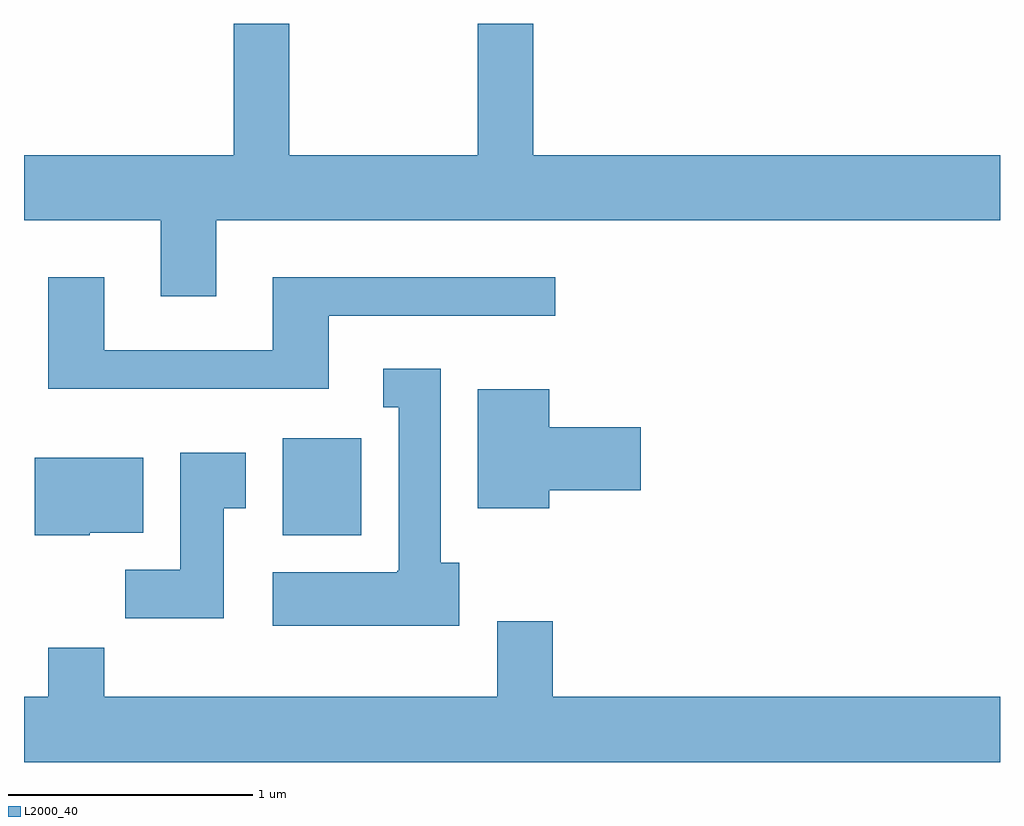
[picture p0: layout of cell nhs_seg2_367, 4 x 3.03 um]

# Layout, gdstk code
import gdstk
lib = gdstk.Library(unit=1e-6, precision=1e-09)
def R(c, l, rs):  # rectangles x0, y0, x1, y1
    for r in rs: c.add(gdstk.rectangle(r[:2], r[2:], *l))
def P(c, l, *ps):  # polygons
    for p in ps: c.add(gdstk.Polygon(p, *l))
L2000_40 = (2000, 40)

nhs_seg2_367 = lib.new_cell('nhs_seg2_367')
R(nhs_seg2_367, L2000_40, [(196.671,1033.706,196.994,1034.104)])
P(nhs_seg2_367, L2000_40, [(196.399,1034.996),(199.611,1034.996),(199.611,1035.264),(197.699,1035.264),(197.699,1035.802),(197.471,1035.802),(197.471,1035.264),(196.699,1035.264),(196.699,1035.802),(196.471,1035.802),(196.471,1035.264),(195.611,1035.264),(195.611,1034.996),(196.171,1034.996),(196.171,1034.686),(196.399,1034.686)],
  [(196.859,1034.606),(197.788,1034.606),(197.788,1034.764),(196.631,1034.764),(196.631,1034.464),(195.939,1034.464),(195.939,1034.764),(195.711,1034.764),(195.711,1034.306),(196.859,1034.306)],
  [(197.394,1033.594),(197.319,1033.594),(197.319,1034.389),(197.083,1034.389),(197.083,1034.231),(197.146,1034.231),(197.146,1033.56),(197.14,1033.56),(197.14,1033.554),(196.631,1033.554),(196.631,1033.336),(197.394,1033.336)],
  [(197.764,1033.891),(198.139,1033.891),(198.139,1034.149),(197.764,1034.149),(197.764,1034.304),(197.471,1034.304),(197.471,1033.816),(197.764,1033.816)],
  [(196.429,1033.816),(196.519,1033.816),(196.519,1034.044),(196.251,1034.044),(196.251,1033.564),(196.026,1033.564),(196.026,1033.366),(196.429,1033.366)],
  [(195.88,1033.716),(196.099,1033.716),(196.099,1034.024),(195.656,1034.024),(195.656,1033.706),(195.88,1033.706)],
  [(199.611,1033.044),(197.779,1033.044),(197.779,1033.354),(197.551,1033.354),(197.551,1033.044),(195.939,1033.044),(195.939,1033.244),(195.711,1033.244),(195.711,1033.044),(195.611,1033.044),(195.611,1032.776),(199.611,1032.776)])

lib.write_gds('nhs_seg2_367.gds')
